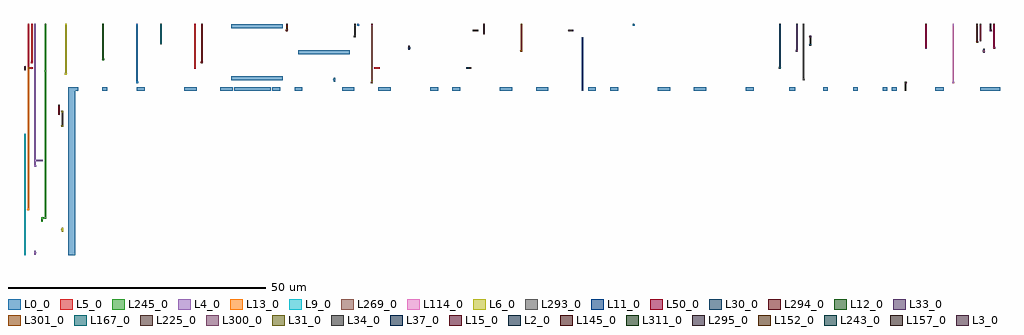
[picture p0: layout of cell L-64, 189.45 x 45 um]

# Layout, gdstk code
import gdstk
lib = gdstk.Library(unit=1e-6, precision=1e-09)
def P(c, l, *ps):  # polygons
    for p in ps: c.add(gdstk.Polygon(p, *l))
L0_0 = (0, 0)
L2_0 = (2, 0)
L3_0 = (3, 0)
L4_0 = (4, 0)
L5_0 = (5, 0)
L6_0 = (6, 0)
L9_0 = (9, 0)
L11_0 = (11, 0)
L12_0 = (12, 0)
L13_0 = (13, 0)
L15_0 = (15, 0)
L30_0 = (30, 0)
L31_0 = (31, 0)
L33_0 = (33, 0)
L34_0 = (34, 0)
L37_0 = (37, 0)
L50_0 = (50, 0)
L114_0 = (114, 0)
L145_0 = (145, 0)
L152_0 = (152, 0)
L157_0 = (157, 0)
L167_0 = (167, 0)
L225_0 = (225, 0)
L243_0 = (243, 0)
L245_0 = (245, 0)
L269_0 = (269, 0)
L293_0 = (293, 0)
L294_0 = (294, 0)
L295_0 = (295, 0)
L300_0 = (300, 0)
L301_0 = (301, 0)
L311_0 = (311, 0)

l_64 = lib.new_cell('L-64')
P(l_64, L0_0, [(1318.49,775),(1318.49,774.62),(1318.21,774.62),(1318.21,775),(1318.49,775)],
  [(1318.16,774.9),(1318.54,774.9),(1318.54,774.62),(1318.16,774.62),(1318.16,774.9)],
  [(1221.8,763.7),(1222.18,763.7),(1222.18,763.42),(1221.8,763.42),(1221.8,763.7)],
  [(1222.13,775),(1222.13,763.42),(1221.85,763.42),(1221.85,775),(1222.13,775)],
  [(1264.7,774.9),(1265.08,774.9),(1265.08,774.62),(1264.7,774.62),(1264.7,774.9)],
  [(1265.03,775),(1265.03,774.62),(1264.75,774.62),(1264.75,775),(1265.03,775)],
  [(1260.08,764.26),(1260.46,764.26),(1260.46,763.98),(1260.08,763.98),(1260.08,764.26)],
  [(1260.13,764.49),(1260.41,764.49),(1260.41,763.75),(1260.13,763.75),(1260.13,764.49)],
  [(1240.24,774.88),(1250.24,774.88),(1250.24,774.08),(1240.24,774.08),(1240.24,774.88)],
  [(1240.24,774.88),(1250.24,774.88),(1250.24,774.08),(1240.24,774.08),(1240.24,774.88)],
  [(1240.24,764.8),(1250.24,764.8),(1250.24,764),(1240.24,764),(1240.24,764.8)],
  [(1240.24,764.8),(1250.24,764.8),(1250.24,764),(1240.24,764),(1240.24,764.8)],
  [(1253.24,769.84),(1263.24,769.84),(1263.24,769.04),(1253.24,769.04),(1253.24,769.84)],
  [(1253.24,769.84),(1263.24,769.84),(1263.24,769.04),(1253.24,769.04),(1253.24,769.84)],
  [(1240.81,762),(1240.81,762.62),(1247.95,762.62),(1247.95,762),(1240.81,762)],
  [(1240.81,762),(1240.81,762.62),(1247.95,762.62),(1247.95,762),(1240.81,762)],
  [(1210,743.84),(1208.585,743.84),(1208.585,744.64),(1210,744.64),(1210,743.84)],
  [(1210,733.76),(1208.585,733.76),(1208.585,734.56),(1210,734.56),(1210,733.76)],
  [(1210,762),(1210,730),(1208.585,730),(1208.585,762.62),(1210.585,762.62),(1210.585,762),(1210,762)],
  [(1210,753.92),(1208.585,753.92),(1208.585,754.72),(1210,754.72),(1210,753.92)],
  [(1210,743.84),(1208.585,743.84),(1208.585,744.64),(1210,744.64),(1210,743.84)],
  [(1210,762),(1210,730),(1208.585,730),(1208.585,762.62),(1210.585,762.62),(1210.585,762),(1210,762)],
  [(1210,733.76),(1208.585,733.76),(1208.585,734.56),(1210,734.56),(1210,733.76)],
  [(1210,762),(1210,730),(1208.585,730),(1208.585,762.62),(1210.585,762.62),(1210.585,762),(1210,762)],
  [(1385.67,762),(1385.67,762.62),(1389.47,762.62),(1389.47,762),(1385.67,762)],
  [(1376.91,762),(1376.91,762.62),(1378.59,762.62),(1378.59,762),(1376.91,762)],
  [(1368.45,762),(1368.45,762.62),(1369.45,762.62),(1369.45,762),(1368.45,762)],
  [(1366.7,762),(1366.7,762.62),(1367.58,762.62),(1367.58,762),(1366.7,762)],
  [(1360.95,762),(1360.95,762.62),(1361.81,762.62),(1361.81,762),(1360.95,762)],
  [(1355.19,762),(1355.19,762.62),(1356.05,762.62),(1356.05,762),(1355.19,762)],
  [(1348.58,762),(1348.58,762.62),(1349.68,762.62),(1349.68,762),(1348.58,762)],
  [(1340.15,762),(1340.15,762.62),(1341.69,762.62),(1341.69,762),(1340.15,762)],
  [(1330.07,762),(1330.07,762.62),(1332.45,762.62),(1332.45,762),(1330.07,762)],
  [(1323.05,762),(1323.05,762.62),(1325.43,762.62),(1325.43,762),(1323.05,762)],
  [(1313.81,762),(1313.81,762.62),(1315.35,762.62),(1315.35,762),(1313.81,762)],
  [(1309.51,762),(1309.51,762.62),(1311.05,762.62),(1311.05,762),(1309.51,762)],
  [(1299.43,762),(1299.43,762.62),(1301.81,762.62),(1301.81,762),(1299.43,762)],
  [(1292.41,762),(1292.41,762.62),(1294.79,762.62),(1294.79,762),(1292.41,762)],
  [(1283.17,762),(1283.17,762.62),(1284.71,762.62),(1284.71,762),(1283.17,762)],
  [(1278.87,762),(1278.87,762.62),(1280.41,762.62),(1280.41,762),(1278.87,762)],
  [(1268.79,762),(1268.79,762.62),(1271.17,762.62),(1271.17,762),(1268.79,762)],
  [(1261.77,762),(1261.77,762.62),(1264.15,762.62),(1264.15,762),(1261.77,762)],
  [(1252.53,762),(1252.53,762.62),(1254.07,762.62),(1254.07,762),(1252.53,762)],
  [(1248.23,762),(1248.23,762.62),(1249.77,762.62),(1249.77,762),(1248.23,762)],
  [(1238.15,762),(1238.15,762.62),(1240.53,762.62),(1240.53,762),(1238.15,762)],
  [(1231.13,762),(1231.13,762.62),(1233.51,762.62),(1233.51,762),(1231.13,762)],
  [(1221.89,762),(1221.89,762.62),(1223.43,762.62),(1223.43,762),(1221.89,762)],
  [(1215.21,762),(1215.21,762.62),(1216.19,762.62),(1216.19,762),(1215.21,762)])
P(l_64, L2_0, [(1352.53,770.7),(1352.53,772.66),(1352.81,772.66),(1352.81,770.7),(1352.53,770.7)],
  [(1352.48,772.66),(1352.86,772.66),(1352.86,772.38),(1352.48,772.38),(1352.48,772.66)],
  [(1352.48,770.98),(1352.86,770.98),(1352.86,770.7),(1352.48,770.7),(1352.48,770.98)])
P(l_64, L3_0, [(1200.07,766.73),(1200.35,766.73),(1200.35,765.99),(1200.07,765.99),(1200.07,766.73)],
  [(1200.02,766.5),(1200.4,766.5),(1200.4,766.22),(1200.02,766.22),(1200.02,766.5)])
P(l_64, L4_0, [(1202,747.46),(1202.38,747.46),(1202.38,747.18),(1202,747.18),(1202,747.46)],
  [(1202.05,748.58),(1203.65,748.58),(1203.65,748.3),(1202.05,748.3),(1202.05,748.58)],
  [(1202.33,775),(1202.33,748.3),(1202.05,748.3),(1202.05,775),(1202.33,775)],
  [(1202.05,747.18),(1202.05,748.58),(1202.33,748.58),(1202.33,747.18),(1202.05,747.18)],
  [(1203.32,748.58),(1203.7,748.58),(1203.7,748.3),(1203.32,748.3),(1203.32,748.58)],
  [(1202.33,775),(1202.33,748.3),(1202.05,748.3),(1202.05,775),(1202.33,775)],
  [(1202.05,747.18),(1202.05,748.58),(1202.33,748.58),(1202.33,747.18),(1202.05,747.18)],
  [(1202,747.46),(1202.38,747.46),(1202.38,747.18),(1202,747.18),(1202,747.46)],
  [(1202.05,747.18),(1202.05,748.58),(1202.33,748.58),(1202.33,747.18),(1202.05,747.18)],
  [(1202.05,730.89),(1202.33,730.89),(1202.33,730.15),(1202.05,730.15),(1202.05,730.89)],
  [(1202,730.66),(1202.38,730.66),(1202.38,730.38),(1202,730.38),(1202,730.66)])
P(l_64, L5_0, [(1201.34,767.62),(1201.72,767.62),(1201.72,767.34),(1201.34,767.34),(1201.34,767.62)],
  [(1201.67,775),(1201.67,767.34),(1201.39,767.34),(1201.39,775),(1201.67,775)],
  [(1200.73,766.5),(1201.67,766.5),(1201.67,766.22),(1200.73,766.22),(1200.73,766.5)],
  [(1201.01,775),(1201.01,766.22),(1200.73,766.22),(1200.73,775),(1201.01,775)],
  [(1200.73,738.78),(1200.73,766.5),(1201.01,766.5),(1201.01,738.78),(1200.73,738.78)],
  [(1200.68,739.06),(1201.06,739.06),(1201.06,738.78),(1200.68,738.78),(1200.68,739.06)],
  [(1201.34,766.5),(1201.72,766.5),(1201.72,766.22),(1201.34,766.22),(1201.34,766.5)],
  [(1268.66,766.5),(1269.04,766.5),(1269.04,766.22),(1268.66,766.22),(1268.66,766.5)],
  [(1268.05,766.5),(1268.99,766.5),(1268.99,766.22),(1268.05,766.22),(1268.05,766.5)],
  [(1268,766.5),(1268.38,766.5),(1268.38,766.22),(1268,766.22),(1268,766.5)],
  [(1201.01,775),(1201.01,766.22),(1200.73,766.22),(1200.73,775),(1201.01,775)],
  [(1200.73,738.78),(1200.73,766.5),(1201.01,766.5),(1201.01,738.78),(1200.73,738.78)],
  [(1233.02,766.5),(1233.4,766.5),(1233.4,766.22),(1233.02,766.22),(1233.02,766.5)],
  [(1233.35,775),(1233.35,766.22),(1233.07,766.22),(1233.07,775),(1233.35,775)])
P(l_64, L6_0, [(1207.94,765.38),(1208.32,765.38),(1208.32,765.1),(1207.94,765.1),(1207.94,765.38)],
  [(1208.27,775),(1208.27,765.1),(1207.99,765.1),(1207.99,775),(1208.27,775)],
  [(1207.28,735.14),(1207.66,735.14),(1207.66,734.86),(1207.28,734.86),(1207.28,735.14)],
  [(1207.33,735.37),(1207.61,735.37),(1207.61,734.63),(1207.33,734.63),(1207.33,735.37)])
P(l_64, L9_0, [(1200.02,753.62),(1200.4,753.62),(1200.4,753.34),(1200.02,753.34),(1200.02,753.62)],
  [(1200.07,730),(1200.07,753.62),(1200.35,753.62),(1200.35,730),(1200.07,730)])
P(l_64, L11_0, [(1308.31,762),(1308.31,772.1),(1308.59,772.1),(1308.59,762),(1308.31,762)],
  [(1308.31,772.33),(1308.59,772.33),(1308.59,771.59),(1308.31,771.59),(1308.31,772.33)])
P(l_64, L12_0, [(1215.53,775),(1215.53,767.9),(1215.25,767.9),(1215.25,775),(1215.53,775)],
  [(1215.2,768.18),(1215.58,768.18),(1215.58,767.9),(1215.2,767.9),(1215.2,768.18)])
P(l_64, L13_0, [(1200.68,739.06),(1201.06,739.06),(1201.06,738.78),(1200.68,738.78),(1200.68,739.06)],
  [(1200.73,738.78),(1200.73,766.5),(1201.01,766.5),(1201.01,738.78),(1200.73,738.78)])
P(l_64, L15_0, [(1206.67,757.26),(1206.67,759.22),(1206.95,759.22),(1206.95,757.26),(1206.67,757.26)],
  [(1206.62,757.54),(1207,757.54),(1207,757.26),(1206.62,757.26),(1206.62,757.54)],
  [(1206.62,759.22),(1207,759.22),(1207,758.94),(1206.62,758.94),(1206.62,759.22)])
P(l_64, L30_0, [(1346.54,766.5),(1346.92,766.5),(1346.92,766.22),(1346.54,766.22),(1346.54,766.5)],
  [(1346.87,775),(1346.87,766.22),(1346.59,766.22),(1346.59,775),(1346.87,775)])
P(l_64, L31_0, [(1207.28,755.3),(1207.66,755.3),(1207.66,755.02),(1207.28,755.02),(1207.28,755.3)],
  [(1207.28,758.1),(1207.66,758.1),(1207.66,757.82),(1207.28,757.82),(1207.28,758.1)],
  [(1207.33,755.02),(1207.33,758.1),(1207.61,758.1),(1207.61,755.02),(1207.33,755.02)])
P(l_64, L33_0, [(1350.17,775),(1350.17,769.58),(1349.89,769.58),(1349.89,775),(1350.17,775)],
  [(1349.84,769.86),(1350.22,769.86),(1350.22,769.58),(1349.84,769.58),(1349.84,769.86)],
  [(1386.14,769.86),(1386.52,769.86),(1386.52,769.58),(1386.14,769.58),(1386.14,769.86)],
  [(1386.19,770.09),(1386.47,770.09),(1386.47,769.35),(1386.19,769.35),(1386.19,770.09)])
P(l_64, L34_0, [(1264.04,772.66),(1264.42,772.66),(1264.42,772.38),(1264.04,772.38),(1264.04,772.66)],
  [(1264.37,775),(1264.37,772.38),(1264.09,772.38),(1264.09,775),(1264.37,775)])
P(l_64, L37_0, [(1305.62,773.78),(1306,773.78),(1306,773.5),(1305.62,773.5),(1305.62,773.78)],
  [(1306.28,773.78),(1306.66,773.78),(1306.66,773.5),(1306.28,773.5),(1306.28,773.78)],
  [(1305.67,773.78),(1306.61,773.78),(1306.61,773.5),(1305.67,773.5),(1305.67,773.78)],
  [(1274.6,770.42),(1274.98,770.42),(1274.98,770.14),(1274.6,770.14),(1274.6,770.42)],
  [(1274.65,770.65),(1274.93,770.65),(1274.93,769.91),(1274.65,769.91),(1274.65,770.65)])
P(l_64, L50_0, [(1374.92,770.42),(1375.3,770.42),(1375.3,770.14),(1374.92,770.14),(1374.92,770.42)],
  [(1375.25,775),(1375.25,770.14),(1374.97,770.14),(1374.97,775),(1375.25,775)],
  [(1388.45,775),(1388.45,770.14),(1388.17,770.14),(1388.17,775),(1388.45,775)],
  [(1388.12,770.42),(1388.5,770.42),(1388.5,770.14),(1388.12,770.14),(1388.12,770.42)])
P(l_64, L114_0, [(1380.53,775),(1380.53,763.42),(1380.25,763.42),(1380.25,775),(1380.53,775)],
  [(1380.2,763.7),(1380.58,763.7),(1380.58,763.42),(1380.2,763.42),(1380.2,763.7)])
P(l_64, L145_0, [(1289.12,773.22),(1289.5,773.22),(1289.5,772.94),(1289.12,772.94),(1289.12,773.22)],
  [(1289.45,775),(1289.45,772.94),(1289.17,772.94),(1289.17,775),(1289.45,775)])
P(l_64, L152_0, [(1251.17,775),(1251.17,773.5),(1250.89,773.5),(1250.89,775),(1251.17,775)],
  [(1250.84,773.78),(1251.22,773.78),(1251.22,773.5),(1250.84,773.5),(1250.84,773.78)])
P(l_64, L157_0, [(1287.14,773.78),(1287.52,773.78),(1287.52,773.5),(1287.14,773.5),(1287.14,773.78)],
  [(1287.8,773.78),(1288.18,773.78),(1288.18,773.5),(1287.8,773.5),(1287.8,773.78)],
  [(1287.19,773.78),(1288.13,773.78),(1288.13,773.5),(1287.19,773.5),(1287.19,773.78)])
P(l_64, L167_0, [(1226.47,771.77),(1226.75,771.77),(1226.75,771.03),(1226.47,771.03),(1226.47,771.77)],
  [(1226.75,775),(1226.75,771.26),(1226.47,771.26),(1226.47,775),(1226.75,775)])
P(l_64, L225_0, [(1385.15,775),(1385.15,771.26),(1384.87,771.26),(1384.87,775),(1385.15,775)],
  [(1384.82,771.54),(1385.2,771.54),(1385.2,771.26),(1384.82,771.26),(1384.82,771.54)])
P(l_64, L243_0, [(1286.48,766.5),(1286.86,766.5),(1286.86,766.22),(1286.48,766.22),(1286.48,766.5)],
  [(1285.82,766.5),(1286.2,766.5),(1286.2,766.22),(1285.82,766.22),(1285.82,766.5)],
  [(1285.87,766.5),(1286.81,766.5),(1286.81,766.22),(1285.87,766.22),(1285.87,766.5)])
P(l_64, L245_0, [(1204.31,775),(1204.31,765.66),(1204.03,765.66),(1204.03,775),(1204.31,775)],
  [(1204.03,737.1),(1204.03,765.94),(1204.31,765.94),(1204.31,737.1),(1204.03,737.1)],
  [(1203.37,737.38),(1204.31,737.38),(1204.31,737.1),(1203.37,737.1),(1203.37,737.38)],
  [(1203.37,736.54),(1203.37,737.38),(1203.65,737.38),(1203.65,736.54),(1203.37,736.54)],
  [(1203.98,765.94),(1204.36,765.94),(1204.36,765.66),(1203.98,765.66),(1203.98,765.94)],
  [(1204.03,737.1),(1204.03,765.94),(1204.31,765.94),(1204.31,737.1),(1204.03,737.1)],
  [(1203.37,737.38),(1204.31,737.38),(1204.31,737.1),(1203.37,737.1),(1203.37,737.38)],
  [(1203.32,736.82),(1203.7,736.82),(1203.7,736.54),(1203.32,736.54),(1203.32,736.82)],
  [(1203.98,765.94),(1204.36,765.94),(1204.36,765.66),(1203.98,765.66),(1203.98,765.94)],
  [(1203.37,737.38),(1204.31,737.38),(1204.31,737.1),(1203.37,737.1),(1203.37,737.38)],
  [(1203.37,736.54),(1203.37,737.38),(1203.65,737.38),(1203.65,736.54),(1203.37,736.54)],
  [(1203.37,736.54),(1203.37,737.38),(1203.65,737.38),(1203.65,736.54),(1203.37,736.54)],
  [(1203.32,736.82),(1203.7,736.82),(1203.7,736.54),(1203.32,736.54),(1203.32,736.82)])
P(l_64, L269_0, [(1267.67,775),(1267.67,763.42),(1267.39,763.42),(1267.39,775),(1267.67,775)],
  [(1267.34,763.7),(1267.72,763.7),(1267.72,763.42),(1267.34,763.42),(1267.34,763.7)])
P(l_64, L293_0, [(1351.49,775),(1351.49,763.98),(1351.21,763.98),(1351.21,775),(1351.49,775)],
  [(1351.16,764.26),(1351.54,764.26),(1351.54,763.98),(1351.16,763.98),(1351.16,764.26)])
P(l_64, L294_0, [(1234.67,775),(1234.67,767.34),(1234.39,767.34),(1234.39,775),(1234.67,775)],
  [(1234.34,767.62),(1234.72,767.62),(1234.72,767.34),(1234.34,767.34),(1234.34,767.62)])
P(l_64, L295_0, [(1387.79,775),(1387.79,773.5),(1387.51,773.5),(1387.51,775),(1387.79,775)],
  [(1387.46,773.78),(1387.84,773.78),(1387.84,773.5),(1387.46,773.5),(1387.46,773.78)])
P(l_64, L300_0, [(1385.81,775),(1385.81,771.82),(1385.53,771.82),(1385.53,775),(1385.81,775)],
  [(1385.53,772.33),(1385.81,772.33),(1385.81,771.59),(1385.53,771.59),(1385.53,772.33)])
P(l_64, L301_0, [(1296.71,775),(1296.71,769.58),(1296.43,769.58),(1296.43,775),(1296.71,775)],
  [(1296.38,769.86),(1296.76,769.86),(1296.76,769.58),(1296.38,769.58),(1296.38,769.86)])
P(l_64, L311_0, [(1370.96,763.7),(1371.34,763.7),(1371.34,763.42),(1370.96,763.42),(1370.96,763.7)],
  [(1371.01,762),(1371.01,763.7),(1371.29,763.7),(1371.29,762),(1371.01,762)])

lib.write_gds('L-64.gds')
